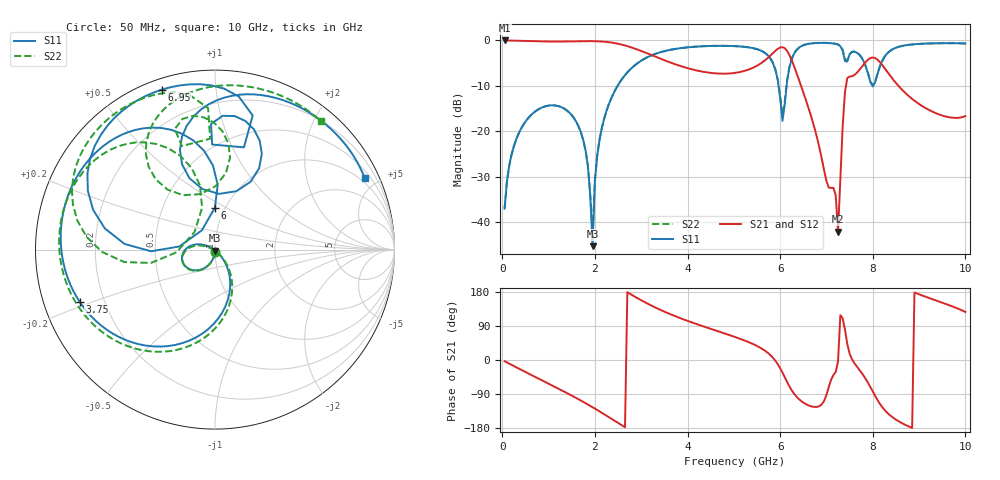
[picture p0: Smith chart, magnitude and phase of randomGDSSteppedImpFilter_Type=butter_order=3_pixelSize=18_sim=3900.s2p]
! freq	dB(S11)	phase(S11)	dB(S12)	phase(S12)
!  dB(S21)	phase(S21)	dB(S22)	phase(S22)
!S-par simulation data
#  GHz  S  DB  R 50
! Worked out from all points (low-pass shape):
!   200 points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, 50 MHz to 10 GHz, reference 50 ohm
!   highest |S21| = -0.01 dB at 50 MHz (marker M1); lowest = -42.2 dB at 7.25 GHz (marker M2)
!   |S21| within 3 dB of the highest: start of sweep to 3.169 GHz; 5.823 GHz to 6.189 GHz (366 MHz wide, 6.09 % of centre)
!   lowest |S11| = -45.3 dB at 1.95 GHz (marker M3), VSWR 1.01, Z = 50 - j0.541 ohm
!   |S11| at or under -10 dB: start of sweep to 2.49 GHz; 5.965 GHz to 6.14 GHz (174.5 MHz wide, 2.88 % of centre); 7.992915 GHz to 8.007542 GHz (14.63 MHz wide, 0.183 % of centre)
!   |S22| runs from -42.5 to -0.5 dB; largest |S21 - S12| = 0
!   S11 on the Smith chart (normalised r, x): 50 MHz: 1.00, -0.03; 3.75 GHz: 0.11, -0.18; 6 GHz: 0.90, +0.44; 6.95 GHz: 0.05, +0.72; 10 GHz: 0.78, +4.28
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0.05  -37.04 -92.9  -0.01 -3.2  -0.01 -3.2  -37.03 -92.8
0.25  -23.30 -106.1  -0.05 -16.0  -0.05 -16.0  -23.30 -105.7
0.65  -16.15 -132.0  -0.16 -41.0  -0.16 -41.0  -16.16 -130.8
1.75  -22.01 159.0  -0.17 -110.6  -0.17 -110.6  -22.02 163.6
1.95  -45.32 -85.8  -0.16 -124.6  -0.16 -124.6  -42.54 -92.5
2.05  -25.38 -48.1  -0.19 -131.9  -0.19 -131.9  -25.30 -47.6
2.25  -15.53 -61.0  -0.33 -146.9  -0.33 -146.9  -15.51 -58.2
3.4  -2.64 -140.7  -3.96 133.1  -3.96 133.1  -2.63 -134.8
3.75  -1.85 -159.0  -5.30 114.9  -5.30 114.9  -1.84 -152.2
5.05  -1.27 145.7  -7.11 59.7  -7.11 59.7  -1.26 156.0
5.7  -2.98 110.0  -4.14 22.1  -4.14 22.1  -2.96 122.9
6  -12.64 90.1  -1.55 -21.7  -1.55 -21.7  -12.25 107.2
6.05  -17.71 124.1  -1.49 -33.2  -1.49 -33.2  -16.44 139.1
6.3  -2.91 161.9  -5.66 -88.8  -5.66 -88.8  -2.87 174.4
6.7  -0.63 123.8  -17.80 -123.1  -17.80 -123.1  -0.62 138.6
6.95  -0.54 108.3  -28.66 -107.7  -28.66 -107.7  -0.53 124.2
7.25  -0.93 86.8  -42.16 -3.5  -42.16 -3.5  -0.88 104.4
7.35  -2.20 74.3  -18.91 110.0  -18.91 110.0  -2.05 92.8
7.45  -4.65 91.6  -8.28 41.8  -8.28 41.8  -4.35 107.8
8  -10.13 85.7  -3.76 -83.2  -3.76 -83.2  -9.91 104.8
8.35  -2.50 99.3  -7.43 -143.5  -7.43 -143.5  -2.49 119.3
10  -0.68 25.5  -16.66 126.7  -16.66 126.7  -0.67 50.6
